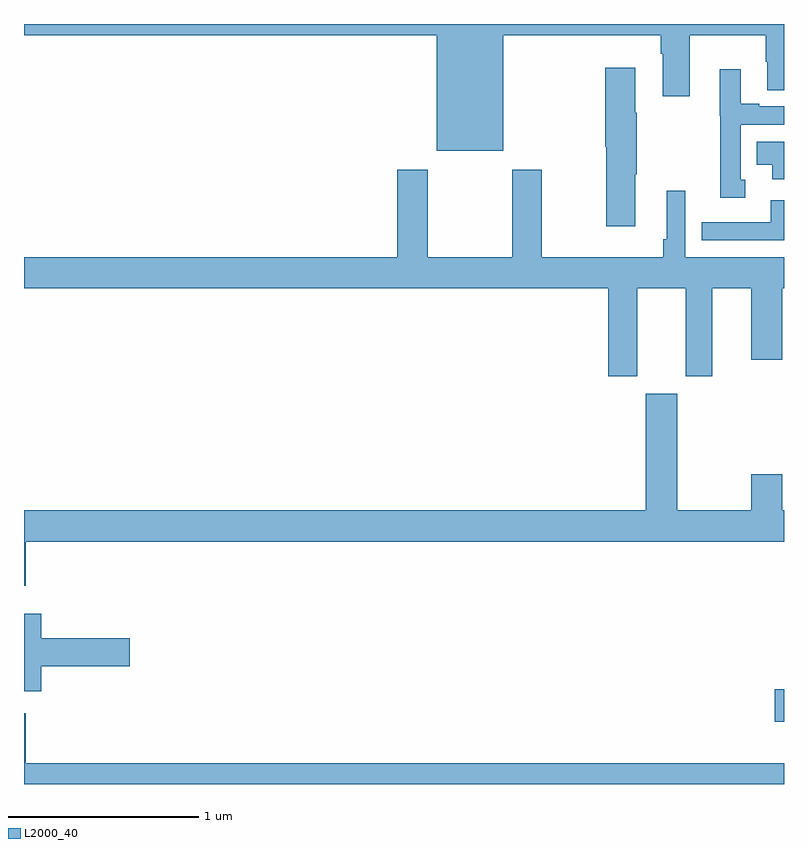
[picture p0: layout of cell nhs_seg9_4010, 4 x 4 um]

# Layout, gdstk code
import gdstk
lib = gdstk.Library(unit=1e-6, precision=1e-09)
def R(c, l, rs):  # rectangles x0, y0, x1, y1
    for r in rs: c.add(gdstk.rectangle(r[:2], r[2:], *l))
def P(c, l, *ps):  # polygons
    for p in ps: c.add(gdstk.Polygon(p, *l))
L2000_40 = (2000, 40)

nhs_seg9_4010 = lib.new_cell('nhs_seg9_4010')
R(nhs_seg9_4010, L2000_40, [(344.952,1172.828,345,1172.999)])
P(nhs_seg9_4010, L2000_40, [(341,1176.44),(343.172,1176.44),(343.172,1175.834),(343.522,1175.834),(343.522,1176.44),(344.351,1176.44),(344.351,1176.344),(344.363,1176.344),(344.363,1176.12),(344.503,1176.12),(344.503,1176.44),(344.905,1176.44),(344.905,1176.302),(344.912,1176.302),(344.912,1176.151),(345,1176.151),(345,1176.5),(341,1176.5)],
  [(344.218,1175.71),(344.226,1175.71),(344.226,1176.032),(344.218,1176.032),(344.218,1176.271),(344.06,1176.271),(344.06,1175.853),(344.065,1175.853),(344.065,1175.436),(344.218,1175.436)],
  [(344.797,1175.679),(344.772,1175.679),(344.772,1175.97),(345,1175.97),(345,1176.066),(344.869,1176.066),(344.869,1176.079),(344.773,1176.079),(344.773,1176.262),(344.663,1176.262),(344.663,1176.017),(344.664,1176.017),(344.664,1175.585),(344.797,1175.585)],
  [(345,1175.881),(344.857,1175.881),(344.857,1175.759),(344.939,1175.759),(344.939,1175.684),(345,1175.684)],
  [(344.227,1175.108),(344.483,1175.108),(344.483,1174.647),(344.623,1174.647),(344.623,1175.108),(344.828,1175.108),(344.828,1174.734),(344.992,1174.734),(344.992,1175.108),(345,1175.108),(345,1175.272),(344.481,1175.272),(344.481,1175.623),(344.384,1175.623),(344.384,1175.368),(344.365,1175.368),(344.365,1175.272),(343.725,1175.272),(343.725,1175.734),(343.57,1175.734),(343.57,1175.272),(343.125,1175.272),(343.125,1175.734),(342.965,1175.734),(342.965,1175.272),(341,1175.272),(341,1175.108),(344.075,1175.108),(344.075,1174.647),(344.227,1174.647)],
  [(345,1175.572),(344.93,1175.572),(344.93,1175.457),(344.566,1175.457),(344.566,1175.361),(345,1175.361)],
  [(341.009,1173.776),(345,1173.776),(345,1173.94),(344.992,1173.94),(344.992,1174.129),(344.828,1174.129),(344.828,1173.94),(344.437,1173.94),(344.437,1174.555),(344.273,1174.555),(344.273,1173.94),(341,1173.94),(341,1173.543),(341.009,1173.543)],
  [(341.092,1173.119),(341.557,1173.119),(341.557,1173.266),(341.092,1173.266),(341.092,1173.397),(341,1173.397),(341,1172.987),(341.092,1172.987)],
  [(345,1172.608),(341.009,1172.608),(341.009,1172.872),(341,1172.872),(341,1172.5),(345,1172.5)])

lib.write_gds('nhs_seg9_4010.gds')
